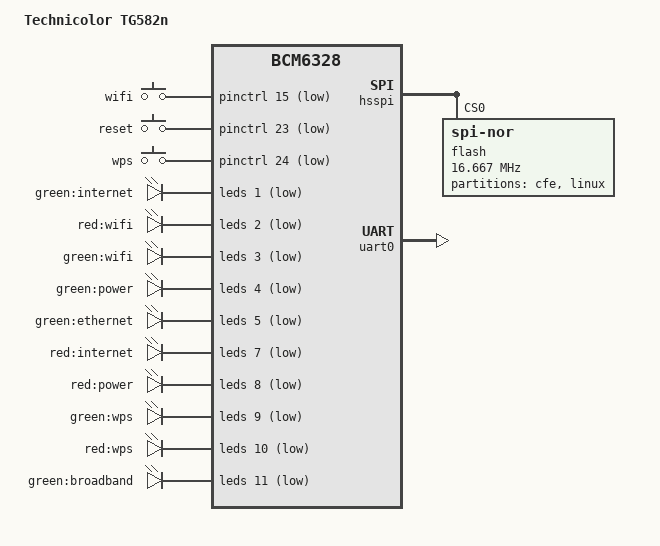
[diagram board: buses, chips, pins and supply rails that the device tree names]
// SPDX-License-Identifier: GPL-2.0-or-later OR MIT

#include "bcm6328.dtsi"

#include <dt-bindings/input/input.h>

/ {
	model = "Technicolor TG582n";
	compatible = "technicolor,tg582n", "brcm,bcm6328";

	aliases {
		led-boot = &led_power_green;
		led-failsafe = &led_power_green;
		led-running = &led_power_green;
		led-upgrade = &led_power_green;
	};

	chosen {
		bootargs = "rootfstype=squashfs,jffs2 noinitrd console=ttyS0,115200";
		stdout-path = "serial0:115200n8";
	};

	keys {
		compatible = "gpio-keys-polled";
		#address-cells = <1>;
		#size-cells = <0>;
		poll-interval = <20>;

		wifi {
			label = "wifi";
			gpios = <&pinctrl 15 1>;
			linux,code = <KEY_WLAN>;
			debounce-interval = <60>;
		};

		reset {
			label = "reset";
			gpios = <&pinctrl 23 1>;
			linux,code = <KEY_RESTART>;
			debounce-interval = <60>;
		};

		wps {
			label = "wps";
			gpios = <&pinctrl 24 1>;
			linux,code = <KEY_WPS_BUTTON>;
			debounce-interval = <60>;
		};
	};
};

&leds {
	status = "okay";

	pinctrl-names = "default";
	pinctrl-0 = <&pinctrl_leds>;

	led@1 {
		reg = <1>;
		active-low;
		label = "green:internet";
	};

	led@2 {
		reg = <2>;
		active-low;
		label = "red:wifi";
	};

	led@3 {
		reg = <3>;
		active-low;
		label = "green:wifi";
	};

	led_power_green: led@4 {
		reg = <4>;
		active-low;
		label = "green:power";
		default-state = "on";
	};

	led@5 {
		reg = <5>;
		active-low;
		label = "green:ethernet";
	};

	led@7 {
		reg = <7>;
		active-low;
		label = "red:internet";
	};

	led@8 {
		reg = <8>;
		active-low;
		label = "red:power";
	};

	led@9 {
		reg = <9>;
		active-low;
		label = "green:wps";
	};

	led@10 {
		reg = <10>;
		active-low;
		label = "red:wps";
	};

	led@11 {
		reg = <11>;
		active-low;
		label = "green:broadband";
	};
};

&hsspi {
	status = "okay";

	flash@0 {
		compatible = "jedec,spi-nor";
		spi-max-frequency = <16666667>;
		spi-tx-bus-width = <2>;
		spi-rx-bus-width = <2>;
		reg = <0>;

		#address-cells = <1>;
		#size-cells = <1>;

		partitions {
			compatible = "fixed-partitions";
			#address-cells = <1>;
			#size-cells = <1>;

			partition@0 {
				reg = <0x000000 0x010000>;
				label = "cfe";
				read-only;
			};

			partition@10000 {
				reg = <0x010000 0xff0000>;
				label = "linux";
				compatible = "brcm,bcm963xx-imagetag";
			};
		};
	};
};

&pinctrl {
	pinctrl_leds: leds {
		function = "led";
		pins = "gpio1", "gpio2",
		       "gpio3", "gpio4",
		       "gpio5", "gpio7",
		       "gpio8", "gpio9",
		       "gpio10", "gpio11";
	};
};

&uart0 {
	status = "okay";
};
